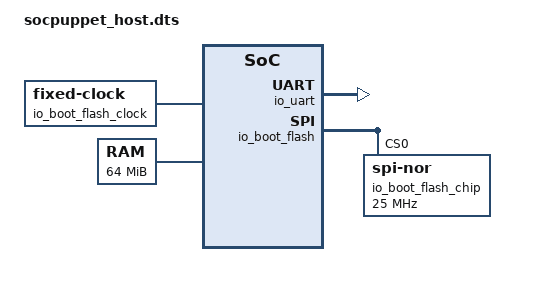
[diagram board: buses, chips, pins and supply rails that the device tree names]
/dts-v1/;

/ {
	#address-cells = <2>;
	#size-cells = <2>;

	chosen {
		zephyr,console = &io_uart;
		zephyr,shell-uart = &io_uart;
		zephyr,sram = &compute_ram;
	};

	aliases {
		watchdog0 = &compute_wdt;
	};

	cpus {
		#address-cells = <1>;
		#size-cells = <0>;
		timebase-frequency = <10000000>;

		compute_cpu: cpu@0 {
			device_type = "cpu";
			compatible = "riscv";
			reg = <0>;
			riscv,isa-base = "rv64i";
			riscv,isa-extensions = "i", "m", "a", "f", "d", "c", "zicsr", "zifencei", "smcsrind", "ssaia";
			mmu-type = "riscv,sv39";

			compute_cpu_intc: interrupt-controller {
				compatible = "riscv,cpu-intc";
				#address-cells = <0>;
				#interrupt-cells = <1>;
				interrupt-controller;
			};
		};
	};

	io_boot_flash_clock: io_boot_flash_clock {
		compatible = "fixed-clock";
		#clock-cells = <0>;
		clock-frequency = <50000000>;
	};

	compute_ram: memory@80000000 {
		device_type = "memory";
		reg = <0x0 0x80000000 0x0 0x4000000>;
	};

	soc {
		compatible = "simple-bus";
		#address-cells = <2>;
		#size-cells = <2>;
		ranges;

		compute_syscon: syscon@100000 {
			compatible = "socpuppet,system-controller", "syscon";
			reg = <0x0 0x100000 0x0 0x20>;
		};

		compute_wdt: watchdog@101000 {
			compatible = "sifive,wdt";
			reg = <0x0 0x101000 0x0 0x1000>;
			interrupt-parent = <&compute_aplic>;
			interrupts = <17 1 4>;
		};

		compute_timer: timer@200bff8 {
			compatible = "riscv,machine-timer";
			reg = <0x0 0x200bff8 0x0 0x8>, <0x0 0x2004000 0x0 0x8>;
			reg-names = "mtime", "mtimecmp";
			interrupts-extended = <&compute_cpu_intc 7>;
		};

		compute_aplic: interrupt-controller@c000000 {
			compatible = "riscv,aplic";
			reg = <0x0 0xc000000 0x0 0x8000>;
			#address-cells = <0>;
			#interrupt-cells = <3>;
			interrupt-controller;
			riscv,num-sources = <31>;
			msi-parent = <&compute_imsic>;
		};

		io_uart: uart@10000000 {
			compatible = "ns16550";
			reg = <0x0 0x10000000 0x0 0x8>;
			reg-shift = <0>;
			clock-frequency = <3686400>;
			interrupt-parent = <&io_aplic>;
			interrupts = <16 1 4>;
		};

		io_aplic: interrupt-controller@100c0000 {
			compatible = "riscv,aplic";
			reg = <0x0 0x100c0000 0x0 0x8000>;
			#address-cells = <0>;
			#interrupt-cells = <3>;
			interrupt-controller;
			riscv,num-sources = <31>;
			msi-parent = <&compute_imsic>;
		};

		io_boot_flash: spi@100d0000 {
			compatible = "sifive,spi0";
			reg = <0x0 0x100d0000 0x0 0x1000>, <0x0 0x10200000 0x0 0x1000000>;
			reg-names = "control", "mem";
			clocks = <&io_boot_flash_clock>;
			#address-cells = <1>;
			#size-cells = <0>;
			interrupts-extended = <&io_aplic 29 1 4>;
			io_boot_flash_chip: flash@0 {
				compatible = "jedec,spi-nor";
				reg = <0>;
				jedec-id = [ef 40 18];
				size = <0x8000000>;
				spi-max-frequency = <25000000>;
			};
		};

		compute_imsic: interrupt-controller@24000000 {
			compatible = "riscv,imsic";
			reg = <0x0 0x24000000 0x0 0x1000>;
			#address-cells = <0>;
			#interrupt-cells = <1>;
			interrupt-controller;
			msi-controller;
			riscv,num-ids = <63>;
			riscv,hart-id = <0>;
			interrupts-extended = <&compute_cpu_intc 11>;
		};
	};
};
